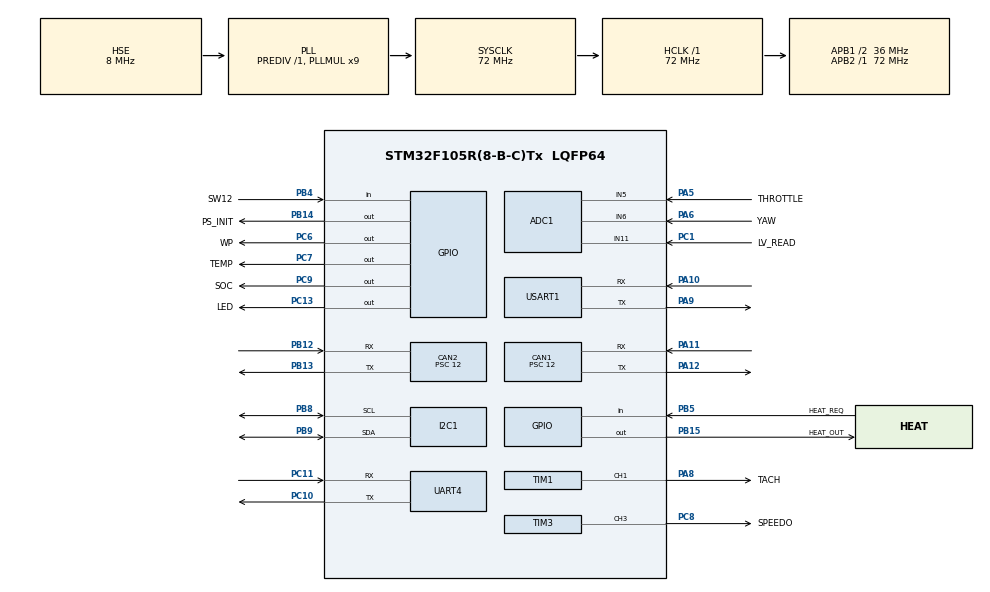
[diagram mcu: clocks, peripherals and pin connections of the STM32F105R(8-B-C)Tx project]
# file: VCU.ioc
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ADC1.Channel-0\#ChannelRegularConversion=ADC_CHANNEL_11
ADC1.Channel-1\#ChannelRegularConversion=ADC_CHANNEL_5
ADC1.Channel-2\#ChannelRegularConversion=ADC_CHANNEL_6
ADC1.ContinuousConvMode=ENABLE
ADC1.DataAlign=ADC_DATAALIGN_RIGHT
ADC1.NbrOfConversion=3
ADC1.NbrOfConversionFlag=1
ADC1.Rank-0\#ChannelRegularConversion=1
ADC1.Rank-1\#ChannelRegularConversion=2
ADC1.Rank-2\#ChannelRegularConversion=3
ADC1.SamplingTime-0\#ChannelRegularConversion=ADC_SAMPLETIME_239CYCLES_5
ADC1.SamplingTime-1\#ChannelRegularConversion=ADC_SAMPLETIME_41CYCLES_5
ADC1.SamplingTime-2\#ChannelRegularConversion=ADC_SAMPLETIME_41CYCLES_5
ADC1.master=1
CAN1.BS1=CAN_BS1_2TQ
CAN1.BS2=CAN_BS2_3TQ
CAN1.CalculateBaudRate=499999
CAN1.CalculateTimeBit=2000
CAN1.CalculateTimeQuantum=333.33333333333337
CAN1.Prescaler=12
CAN2.BS1=CAN_BS1_2TQ
CAN2.BS2=CAN_BS2_3TQ
CAN2.CalculateBaudRate=499999
CAN2.CalculateTimeBit=2000
CAN2.CalculateTimeQuantum=333.33333333333337
CAN2.Prescaler=12
Dma.ADC1.3.Direction=DMA_PERIPH_TO_MEMORY
Dma.ADC1.3.Instance=DMA1_Channel1
Dma.ADC1.3.MemDataAlignment=DMA_MDATAALIGN_WORD
Dma.ADC1.3.MemInc=DMA_MINC_ENABLE
Dma.ADC1.3.Mode=DMA_CIRCULAR
Dma.ADC1.3.PeriphDataAlignment=DMA_PDATAALIGN_WORD
Dma.ADC1.3.PeriphInc=DMA_PINC_DISABLE
Dma.ADC1.3.Priority=DMA_PRIORITY_LOW
Dma.Request0=TIM5_CH1
Dma.Request1=TIM5_CH2
Dma.Request2=TIM2_CH1
Dma.Request3=ADC1
Dma.TIM2_CH1.2.Direction=DMA_MEMORY_TO_PERIPH
Dma.TIM2_CH1.2.Instance=DMA1_Channel5
Dma.TIM2_CH1.2.MemDataAlignment=DMA_MDATAALIGN_WORD
Dma.TIM2_CH1.2.MemInc=DMA_MINC_ENABLE
Dma.TIM2_CH1.2.Mode=DMA_CIRCULAR
Dma.TIM2_CH1.2.PeriphDataAlignment=DMA_PDATAALIGN_WORD
Dma.TIM2_CH1.2.PeriphInc=DMA_PINC_DISABLE
Dma.TIM2_CH1.2.Priority=DMA_PRIORITY_LOW
Dma.TIM5_CH1.0.Direction=DMA_MEMORY_TO_PERIPH
Dma.TIM5_CH1.0.Instance=DMA2_Channel5
Dma.TIM5_CH1.0.MemDataAlignment=DMA_MDATAALIGN_WORD
Dma.TIM5_CH1.0.MemInc=DMA_MINC_ENABLE
Dma.TIM5_CH1.0.Mode=DMA_CIRCULAR
Dma.TIM5_CH1.0.PeriphDataAlignment=DMA_PDATAALIGN_WORD
Dma.TIM5_CH1.0.PeriphInc=DMA_PINC_DISABLE
Dma.TIM5_CH1.0.Priority=DMA_PRIORITY_VERY_HIGH
Dma.TIM5_CH2.1.Direction=DMA_MEMORY_TO_PERIPH
Dma.TIM5_CH2.1.Instance=DMA2_Channel4
Dma.TIM5_CH2.1.MemDataAlignment=DMA_MDATAALIGN_WORD
Dma.TIM5_CH2.1.MemInc=DMA_MINC_ENABLE
Dma.TIM5_CH2.1.Mode=DMA_CIRCULAR
Dma.TIM5_CH2.1.PeriphDataAlignment=DMA_PDATAALIGN_WORD
Dma.TIM5_CH2.1.PeriphInc=DMA_PINC_DISABLE
Dma.TIM5_CH2.1.Priority=DMA_PRIORITY_VERY_HIGH
IWDG.Prescaler=IWDG_PRESCALER_8
IWDG.Reload=439
Mcu.Family=STM32F1
Mcu.Name=STM32F105R(8-B-C)Tx
Mcu.Package=LQFP64
NVIC.CAN1_RX0_IRQn=true\:0\:0\:false\:false\:true\:true\:true
NVIC.CAN2_RX1_IRQn=true\:0\:0\:false\:false\:true\:true\:true
NVIC.DMA1_Channel1_IRQn=true\:0\:0\:false\:false\:true\:false\:true
NVIC.DMA1_Channel5_IRQn=true\:0\:0\:false\:false\:true\:false\:true
NVIC.DMA2_Channel4_IRQn=true\:0\:0\:false\:false\:true\:false\:true
NVIC.DMA2_Channel5_IRQn=true\:0\:0\:false\:false\:true\:false\:true
NVIC.PriorityGroup=NVIC_PRIORITYGROUP_4
NVIC.TIM6_IRQn=true\:0\:0\:false\:false\:true\:true\:true
PA10.Mode=Asynchronous
PA10.Signal=USART1_RX
PA11.Mode=CAN_Activate
PA11.Signal=CAN1_RX
PA12.Mode=CAN_Activate
PA12.Signal=CAN1_TX
PA13.Mode=Serial_Wire
PA13.Signal=SYS_JTMS-SWDIO
PA14.Mode=Serial_Wire
PA14.Signal=SYS_JTCK-SWCLK
PA5.GPIO_Label=THROTTLE
PA5.Signal=ADCx_IN5
PA6.GPIO_Label=YAW
PA6.Signal=ADCx_IN6
PA8.GPIO_Label=TACH
PA8.Signal=S_TIM1_CH1
PA9.Mode=Asynchronous
PA9.Signal=USART1_TX
PB12.Mode=CAN_Activate
PB12.Signal=CAN2_RX
PB13.Mode=CAN_Activate
PB13.Signal=CAN2_TX
PB14.GPIO_Label=PS_INIT
PB14.GPIO_PuPd=GPIO_NOPULL
PB14.Signal=GPIO_Output
PB15.GPIO_Label=HEAT_OUT
PB15.Signal=GPIO_Output
PB4.GPIO_Label=SW12
PB4.Signal=GPIO_Input
PB5.GPIO_Label=HEAT_REQ
PB5.Signal=GPIO_Input
PB8.Mode=SMBus-two-wire-Interface
PB8.Signal=I2C1_SCL
PB9.Mode=SMBus-two-wire-Interface
PB9.Signal=I2C1_SDA
PC1.GPIO_Label=LV_READ
PC1.Signal=ADCx_IN11
PC10.Mode=Asynchronous
PC10.Signal=UART4_TX
PC11.Mode=Asynchronous
PC11.Signal=UART4_RX
PC13-TAMPER-RTC.GPIO_Label=LED
PC13-TAMPER-RTC.Signal=GPIO_Output
PC14-OSC32_IN.Mode=LSE-External-Oscillator
PC14-OSC32_IN.Signal=RCC_OSC32_IN
PC15-OSC32_OUT.Mode=LSE-External-Oscillator
PC15-OSC32_OUT.Signal=RCC_OSC32_OUT
PC6.GPIO_Label=WP
PC6.Signal=GPIO_Output
PC7.GPIO_Label=TEMP
PC7.GPIO_Speed=GPIO_SPEED_FREQ_HIGH
PC7.Signal=GPIO_Output
PC8.GPIO_Label=SPEEDO
PC8.Signal=S_TIM3_CH3
PC9.GPIO_Label=SOC
PC9.GPIO_Speed=GPIO_SPEED_FREQ_HIGH
PC9.Signal=GPIO_Output
PD0-OSC_IN.Mode=HSE-External-Oscillator
PD0-OSC_IN.Signal=RCC_OSC_IN
PD1-OSC_OUT.Mode=HSE-External-Oscillator
PD1-OSC_OUT.Signal=RCC_OSC_OUT
ProjectManager.HeapSize=0x200
ProjectManager.StackSize=0x400
ProjectManager.TargetToolchain=Makefile
RCC.ADCPresc=RCC_ADCPCLK2_DIV6
RCC.AHBFreq_Value=72000000
RCC.APB1CLKDivider=RCC_HCLK_DIV2
RCC.APB1Freq_Value=36000000
RCC.APB1TimFreq_Value=72000000
RCC.APB2Freq_Value=72000000
RCC.APB2TimFreq_Value=72000000
RCC.HCLKFreq_Value=72000000
RCC.PLLMUL=RCC_PLL_MUL9
RCC.PLLSourceVirtual=RCC_PLLSOURCE_HSE
RCC.SYSCLKFreq_VALUE=72000000
RCC.SYSCLKSource=RCC_SYSCLKSOURCE_PLLCLK
RCC.USBFreq_Value=48000000
SH.ADCx_IN11.0=ADC1_IN11,IN11
SH.ADCx_IN5.0=ADC1_IN5,IN5
SH.ADCx_IN6.0=ADC1_IN6,IN6
SH.S_TIM1_CH1.0=TIM1_CH1,PWM Generation1 CH1
SH.S_TIM3_CH3.0=TIM3_CH3,PWM Generation3 CH3
TIM1.Channel-PWM\ Generation1\ CH1=TIM_CHANNEL_1
TIM1.OCPolarity_1=TIM_OCPOLARITY_HIGH
TIM1.Period=65535
TIM1.Prescaler=240
TIM2.Channel-Output\ Compare1\ No\ Output=TIM_CHANNEL_1
TIM2.Period=600
TIM2.Prescaler=10
TIM3.Channel-PWM\ Generation3\ CH3=TIM_CHANNEL_3
TIM3.Period=600
TIM3.Prescaler=120
TIM5.Channel-Output\ Compare1\ No\ Output=TIM_CHANNEL_1
TIM5.Channel-Output\ Compare2\ No\ Output=TIM_CHANNEL_2
TIM5.Period=10
TIM5.Prescaler=100
TIM6.Period=1000-1
TIM6.Prescaler=72-1
UART4.VirtualMode=Asynchronous
USART1.VirtualMode=VM_ASYNC
VP_IWDG_VS_IWDG.Mode=IWDG_Activate
VP_TIM2_VS_no_output1.Mode=Output Compare1 No Output
VP_TIM3_VS_ClockSourceINT.Mode=Internal
VP_TIM5_VS_no_output1.Mode=Output Compare1 No Output
VP_TIM5_VS_no_output2.Mode=Output Compare2 No Output
VP_TIM6_VS_ClockSourceINT.Mode=Enable_Timer
board=custom

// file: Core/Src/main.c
/* USER CODE BEGIN Header */
/**
 ******************************************************************************
 * @file           : main.c
 * @brief          : Main program body
 ******************************************************************************
 * @attention
 *
 * <h2><center>&copy; Copyright (c) 2021 STMicroelectronics.
 * All rights reserved.</center></h2>
 *
 * This software component is licensed by ST under Ultimate Liberty license
 * SLA0044, the "License"; You may not use this file except in compliance with
 * the License. You may obtain a copy of the License at:
 *                             www.st.com/SLA0044
 *
 ******************************************************************************
 */
/* USER CODE END Header */
#include "main.h"

/* USER CODE BEGIN Includes */

#include "print_uart.h"
#include "can_setup.h"
//#include "FreeRTOS.h"
//#include "task.h" //needed for delayuntil
#include "gauges.h"
#include "vcu.h"
#include "test.h"
#include "water_pump.h"
#include "dcdc.h"
#include "tasks.h"
__attribute__((__section__(".board_info"))) const unsigned char BOARD_NAME[10] = "VCU"; // BOARD_NAME must match build name in Makefile
/* USER CODE END Includes */

/* USER CODE BEGIN PTD */
uint32_t lastRun = 0;

/* USER CODE END PTD */

ADC_HandleTypeDef hadc1;
DMA_HandleTypeDef hdma_adc1;

CAN_HandleTypeDef hcan1;
CAN_HandleTypeDef hcan2;

IWDG_HandleTypeDef hiwdg;

TIM_HandleTypeDef htim1;
TIM_HandleTypeDef htim2;
TIM_HandleTypeDef htim3;
TIM_HandleTypeDef htim5;
TIM_HandleTypeDef htim6;
DMA_HandleTypeDef hdma_tim2_ch1;
DMA_HandleTypeDef hdma_tim5_ch1;
DMA_HandleTypeDef hdma_tim5_ch2;

UART_HandleTypeDef huart4;
UART_HandleTypeDef huart1;

void SystemClock_Config(void);
static void MX_GPIO_Init(void);
static void MX_DMA_Init(void);
static void MX_CAN2_Init(void);
static void MX_ADC1_Init(void);
static void MX_CAN1_Init(void);
static void MX_I2C1_SMBUS_Init(void);
static void MX_UART4_Init(void);
static void MX_USART1_UART_Init(void);
static void MX_TIM3_Init(void);
static void MX_TIM1_Init(void);
static void MX_TIM5_Init(void);
static void MX_TIM2_Init(void);
static void MX_IWDG_Init(void);
static void MX_TIM6_Init(void);

int main(void)
{

  /* MCU Configuration--------------------------------------------------------*/

  /* Reset of all peripherals, Initializes the Flash interface and the Systick. */
  HAL_Init();

  /* Configure the system clock */
  SystemClock_Config();

  /* Initialize all configured peripherals */
  MX_GPIO_Init();
  MX_DMA_Init();
  MX_CAN2_Init();
  MX_ADC1_Init();
  MX_CAN1_Init();
  MX_I2C1_SMBUS_Init();
  MX_UART4_Init();
  MX_USART1_UART_Init();
  MX_TIM3_Init();
  MX_TIM1_Init();
  MX_TIM5_Init();
  MX_TIM2_Init();
  //MX_IWDG_Init();
  MX_TIM6_Init();
  /* USER CODE BEGIN 2 */
  canSettings();
  gaugeInit();
  dcdcInit();
  vcuInit();
  wpInit();

  HAL_TIM_Base_Start_IT(&htim6);

  HAL_TIM_Base_Start(&htim2);
  HAL_DMA_Start(&hdma_tim2_ch1, (uint32_t) & (waterPWM[0]), GPIOC_BASE + 16, 100); // water pump pwm
  __HAL_TIM_ENABLE_DMA(&htim2, TIM_DMA_CC1);

  HAL_TIM_Base_Start(&htim5);
  HAL_DMA_Start(&hdma_tim5_ch1, (uint32_t) & (tempPWM[0]), GPIOC_BASE + 16, 100); // temp gauge PWM
  __HAL_TIM_ENABLE_DMA(&htim5, TIM_DMA_CC1);
  HAL_DMA_Start(&hdma_tim5_ch2, (uint32_t) & (socPWM[0]), GPIOC_BASE + 16, 1000); // SOC gauge PWM
  __HAL_TIM_ENABLE_DMA(&htim5, TIM_DMA_CC2);

  HAL_TIM_PWM_Start(&htim1, TIM_CHANNEL_1); // Tach pwm start
  HAL_TIM_PWM_Start(&htim3, TIM_CHANNEL_3); // Speedo pwm start

  HAL_ADC_Start_DMA(&hadc1, ADC_data, 3);
  lastRun = HAL_GetTick();

  /* USER CODE END 2 */

  /* Infinite loop */
  /* USER CODE BEGIN WHILE */
  while (1)
  {
    taskHandler();

    /* USER CODE END WHILE */

  }
}

void SystemClock_Config(void)
{
  RCC_OscInitTypeDef RCC_OscInitStruct = {0};
  RCC_ClkInitTypeDef RCC_ClkInitStruct = {0};
  RCC_PeriphCLKInitTypeDef PeriphClkInit = {0};

  /** Initializes the RCC Oscillators according to the specified parameters
   * in the RCC_OscInitTypeDef structure.
   */
  RCC_OscInitStruct.OscillatorType = RCC_OSCILLATORTYPE_LSI | RCC_OSCILLATORTYPE_HSE;
  RCC_OscInitStruct.HSEState = RCC_HSE_ON;
  RCC_OscInitStruct.HSEPredivValue = RCC_HSE_PREDIV_DIV1;
  RCC_OscInitStruct.HSIState = RCC_HSI_ON;
  RCC_OscInitStruct.LSIState = RCC_LSI_ON;
  RCC_OscInitStruct.Prediv1Source = RCC_PREDIV1_SOURCE_HSE;
  RCC_OscInitStruct.PLL.PLLState = RCC_PLL_ON;
  RCC_OscInitStruct.PLL.PLLSource = RCC_PLLSOURCE_HSE;
  RCC_OscInitStruct.PLL.PLLMUL = RCC_PLL_MUL9;
  RCC_OscInitStruct.PLL2.PLL2State = RCC_PLL_NONE;
  if (HAL_RCC_OscConfig(&RCC_OscInitStruct) != HAL_OK)
  {
    Error_Handler();
  }
  /** Initializes the CPU, AHB and APB buses clocks
   */
  RCC_ClkInitStruct.ClockType = RCC_CLOCKTYPE_HCLK | RCC_CLOCKTYPE_SYSCLK | RCC_CLOCKTYPE_PCLK1 | RCC_CLOCKTYPE_PCLK2;
  RCC_ClkInitStruct.SYSCLKSource = RCC_SYSCLKSOURCE_PLLCLK;
  RCC_ClkInitStruct.AHBCLKDivider = RCC_SYSCLK_DIV1;
  RCC_ClkInitStruct.APB1CLKDivider = RCC_HCLK_DIV2;
  RCC_ClkInitStruct.APB2CLKDivider = RCC_HCLK_DIV1;

  if (HAL_RCC_ClockConfig(&RCC_ClkInitStruct, FLASH_LATENCY_2) != HAL_OK)
  {
    Error_Handler();
  }
  PeriphClkInit.PeriphClockSelection = RCC_PERIPHCLK_ADC;
  PeriphClkInit.AdcClockSelection = RCC_ADCPCLK2_DIV6;
  if (HAL_RCCEx_PeriphCLKConfig(&PeriphClkInit) != HAL_OK)
  {
    Error_Handler();
  }
  /** Configure the Systick interrupt time
   */
  __HAL_RCC_PLLI2S_ENABLE();
}

static void MX_ADC1_Init(void)
{

  ADC_ChannelConfTypeDef sConfig = {0};

  /** Common config
   */
  hadc1.Instance = ADC1;
  hadc1.Init.ScanConvMode = ADC_SCAN_ENABLE;
  hadc1.Init.ContinuousConvMode = ENABLE;
  hadc1.Init.DiscontinuousConvMode = DISABLE;
  hadc1.Init.ExternalTrigConv = ADC_SOFTWARE_START;
  hadc1.Init.DataAlign = ADC_DATAALIGN_RIGHT;
  hadc1.Init.NbrOfConversion = 3;
  if (HAL_ADC_Init(&hadc1) != HAL_OK)
  {
    Error_Handler();
  }
  /** Configure Regular Channel
   */
  sConfig.Channel = ADC_CHANNEL_11;
  sConfig.Rank = ADC_REGULAR_RANK_1;
  sConfig.SamplingTime = ADC_SAMPLETIME_239CYCLES_5;
  if (HAL_ADC_ConfigChannel(&hadc1, &sConfig) != HAL_OK)
  {
    Error_Handler();
  }
  /** Configure Regular Channel
   */
  sConfig.Channel = ADC_CHANNEL_5;
  sConfig.Rank = ADC_REGULAR_RANK_2;
  sConfig.SamplingTime = ADC_SAMPLETIME_41CYCLES_5;
  if (HAL_ADC_ConfigChannel(&hadc1, &sConfig) != HAL_OK)
  {
    Error_Handler();
  }
  /** Configure Regular Channel
   */
  sConfig.Channel = ADC_CHANNEL_6;
  sConfig.Rank = ADC_REGULAR_RANK_3;
  if (HAL_ADC_ConfigChannel(&hadc1, &sConfig) != HAL_OK)
  {
    Error_Handler();
  }
}

static void MX_CAN1_Init(void)
{

  hcan1.Instance = CAN1;
  hcan1.Init.Prescaler = 12;
  hcan1.Init.Mode = CAN_MODE_NORMAL;
  hcan1.Init.SyncJumpWidth = CAN_SJW_1TQ;
  hcan1.Init.TimeSeg1 = CAN_BS1_2TQ;
  hcan1.Init.TimeSeg2 = CAN_BS2_3TQ;
  hcan1.Init.TimeTriggeredMode = DISABLE;
  hcan1.Init.AutoBusOff = DISABLE;
  hcan1.Init.AutoWakeUp = DISABLE;
  hcan1.Init.AutoRetransmission = DISABLE;
  hcan1.Init.ReceiveFifoLocked = DISABLE;
  hcan1.Init.TransmitFifoPriority = DISABLE;
  if (HAL_CAN_Init(&hcan1) != HAL_OK)
  {
    Error_Handler();
  }
}

static void MX_CAN2_Init(void)
{

  hcan2.Instance = CAN2;
  hcan2.Init.Prescaler = 12;
  hcan2.Init.Mode = CAN_MODE_NORMAL;
  hcan2.Init.SyncJumpWidth = CAN_SJW_1TQ;
  hcan2.Init.TimeSeg1 = CAN_BS1_2TQ;
  hcan2.Init.TimeSeg2 = CAN_BS2_3TQ;
  hcan2.Init.TimeTriggeredMode = DISABLE;
  hcan2.Init.AutoBusOff = DISABLE;
  hcan2.Init.AutoWakeUp = DISABLE;
  hcan2.Init.AutoRetransmission = DISABLE;
  hcan2.Init.ReceiveFifoLocked = DISABLE;
  hcan2.Init.TransmitFifoPriority = DISABLE;
  if (HAL_CAN_Init(&hcan2) != HAL_OK)
  {
    Error_Handler();
  }
}

static void MX_I2C1_SMBUS_Init(void)
{

}

static void MX_IWDG_Init(void)
{

  hiwdg.Instance = IWDG;
  hiwdg.Init.Prescaler = IWDG_PRESCALER_8;
  hiwdg.Init.Reload = 439;
  if (HAL_IWDG_Init(&hiwdg) != HAL_OK)
  {
    Error_Handler();
  }
}

static void MX_TIM1_Init(void)
{

  TIM_MasterConfigTypeDef sMasterConfig = {0};
  TIM_OC_InitTypeDef sConfigOC = {0};
  TIM_BreakDeadTimeConfigTypeDef sBreakDeadTimeConfig = {0};

  htim1.Instance = TIM1;
  htim1.Init.Prescaler = 240;
  htim1.Init.CounterMode = TIM_COUNTERMODE_UP;
  htim1.Init.Period = 65535;
  htim1.Init.ClockDivision = TIM_CLOCKDIVISION_DIV1;
  htim1.Init.RepetitionCounter = 0;
  htim1.Init.AutoReloadPreload = TIM_AUTORELOAD_PRELOAD_DISABLE;
  if (HAL_TIM_PWM_Init(&htim1) != HAL_OK)
  {
    Error_Handler();
  }
  sMasterConfig.MasterOutputTrigger = TIM_TRGO_RESET;
  sMasterConfig.MasterSlaveMode = TIM_MASTERSLAVEMODE_DISABLE;
  if (HAL_TIMEx_MasterConfigSynchronization(&htim1, &sMasterConfig) != HAL_OK)
  {
    Error_Handler();
  }
  sConfigOC.OCMode = TIM_OCMODE_PWM1;
  sConfigOC.Pulse = 0;
  sConfigOC.OCPolarity = TIM_OCPOLARITY_HIGH;
  sConfigOC.OCNPolarity = TIM_OCNPOLARITY_HIGH;
  sConfigOC.OCFastMode = TIM_OCFAST_DISABLE;
  sConfigOC.OCIdleState = TIM_OCIDLESTATE_RESET;
  sConfigOC.OCNIdleState = TIM_OCNIDLESTATE_RESET;
  if (HAL_TIM_PWM_ConfigChannel(&htim1, &sConfigOC, TIM_CHANNEL_1) != HAL_OK)
  {
    Error_Handler();
  }
  sBreakDeadTimeConfig.OffStateRunMode = TIM_OSSR_DISABLE;
  sBreakDeadTimeConfig.OffStateIDLEMode = TIM_OSSI_DISABLE;
  sBreakDeadTimeConfig.LockLevel = TIM_LOCKLEVEL_OFF;
  sBreakDeadTimeConfig.DeadTime = 0;
  sBreakDeadTimeConfig.BreakState = TIM_BREAK_DISABLE;
  sBreakDeadTimeConfig.BreakPolarity = TIM_BREAKPOLARITY_HIGH;
  sBreakDeadTimeConfig.AutomaticOutput = TIM_AUTOMATICOUTPUT_DISABLE;
  if (HAL_TIMEx_ConfigBreakDeadTime(&htim1, &sBreakDeadTimeConfig) != HAL_OK)
  {
    Error_Handler();
  }
  HAL_TIM_MspPostInit(&htim1);
}

static void MX_TIM2_Init(void)
{

  TIM_MasterConfigTypeDef sMasterConfig = {0};
  TIM_OC_InitTypeDef sConfigOC = {0};

  /* USER CODE BEGIN TIM2_Init 1 */
  // Water pump pwm emulation
  /* USER CODE END TIM2_Init 1 */
  htim2.Instance = TIM2;
  htim2.Init.Prescaler = 10;
  htim2.Init.CounterMode = TIM_COUNTERMODE_UP;
  htim2.Init.Period = 600;
  htim2.Init.ClockDivision = TIM_CLOCKDIVISION_DIV1;
  htim2.Init.AutoReloadPreload = TIM_AUTORELOAD_PRELOAD_DISABLE;
  if (HAL_TIM_OC_Init(&htim2) != HAL_OK)
  {
    Error_Handler();
  }
  sMasterConfig.MasterOutputTrigger = TIM_TRGO_RESET;
  sMasterConfig.MasterSlaveMode = TIM_MASTERSLAVEMODE_DISABLE;
  if (HAL_TIMEx_MasterConfigSynchronization(&htim2, &sMasterConfig) != HAL_OK)
  {
    Error_Handler();
  }
  sConfigOC.OCMode = TIM_OCMODE_TIMING;
  sConfigOC.Pulse = 0;
  sConfigOC.OCPolarity = TIM_OCPOLARITY_HIGH;
  sConfigOC.OCFastMode = TIM_OCFAST_DISABLE;
  if (HAL_TIM_OC_ConfigChannel(&htim2, &sConfigOC, TIM_CHANNEL_1) != HAL_OK)
  {
    Error_Handler();
  }
}

static void MX_TIM3_Init(void)
{

  TIM_ClockConfigTypeDef sClockSourceConfig = {0};
  TIM_MasterConfigTypeDef sMasterConfig = {0};
  TIM_OC_InitTypeDef sConfigOC = {0};

  htim3.Instance = TIM3;
  htim3.Init.Prescaler = 120;
  htim3.Init.CounterMode = TIM_COUNTERMODE_UP;
  htim3.Init.Period = 600;
  htim3.Init.ClockDivision = TIM_CLOCKDIVISION_DIV1;
  htim3.Init.AutoReloadPreload = TIM_AUTORELOAD_PRELOAD_DISABLE;
  if (HAL_TIM_Base_Init(&htim3) != HAL_OK)
  {
    Error_Handler();
  }
  sClockSourceConfig.ClockSource = TIM_CLOCKSOURCE_INTERNAL;
  if (HAL_TIM_ConfigClockSource(&htim3, &sClockSourceConfig) != HAL_OK)
  {
    Error_Handler();
  }
  if (HAL_TIM_PWM_Init(&htim3) != HAL_OK)
  {
    Error_Handler();
  }
  sMasterConfig.MasterOutputTrigger = TIM_TRGO_RESET;
  sMasterConfig.MasterSlaveMode = TIM_MASTERSLAVEMODE_DISABLE;
  if (HAL_TIMEx_MasterConfigSynchronization(&htim3, &sMasterConfig) != HAL_OK)
  {
    Error_Handler();
  }
  sConfigOC.OCMode = TIM_OCMODE_PWM1;
  sConfigOC.Pulse = 0;
  sConfigOC.OCPolarity = TIM_OCPOLARITY_HIGH;
  sConfigOC.OCFastMode = TIM_OCFAST_DISABLE;
  if (HAL_TIM_PWM_ConfigChannel(&htim3, &sConfigOC, TIM_CHANNEL_3) != HAL_OK)
  {
    Error_Handler();
  }
  HAL_TIM_MspPostInit(&htim3);
}

static void MX_TIM5_Init(void)
{

  TIM_MasterConfigTypeDef sMasterConfig = {0};
  TIM_OC_InitTypeDef sConfigOC = {0};

  htim5.Instance = TIM5;
  htim5.Init.Prescaler = 100;
  htim5.Init.CounterMode = TIM_COUNTERMODE_UP;
  htim5.Init.Period = 10;
  htim5.Init.ClockDivision = TIM_CLOCKDIVISION_DIV1;
  htim5.Init.AutoReloadPreload = TIM_AUTORELOAD_PRELOAD_DISABLE;
  if (HAL_TIM_OC_Init(&htim5) != HAL_OK)
  {
    Error_Handler();
  }
  sMasterConfig.MasterOutputTrigger = TIM_TRGO_RESET;
  sMasterConfig.MasterSlaveMode = TIM_MASTERSLAVEMODE_DISABLE;
  if (HAL_TIMEx_MasterConfigSynchronization(&htim5, &sMasterConfig) != HAL_OK)
  {
    Error_Handler();
  }
  sConfigOC.OCMode = TIM_OCMODE_TIMING;
  sConfigOC.Pulse = 0;
  sConfigOC.OCPolarity = TIM_OCPOLARITY_HIGH;
  sConfigOC.OCFastMode = TIM_OCFAST_DISABLE;
  if (HAL_TIM_OC_ConfigChannel(&htim5, &sConfigOC, TIM_CHANNEL_1) != HAL_OK)
  {
    Error_Handler();
  }
  if (HAL_TIM_OC_ConfigChannel(&htim5, &sConfigOC, TIM_CHANNEL_2) != HAL_OK)
  {
    Error_Handler();
  }
}

static void MX_TIM6_Init(void)
{

  TIM_MasterConfigTypeDef sMasterConfig = {0};

  htim6.Instance = TIM6;
  htim6.Init.Prescaler = 72 - 1;
  htim6.Init.CounterMode = TIM_COUNTERMODE_UP;
  htim6.Init.Period = 1000 - 1;
  htim6.Init.AutoReloadPreload = TIM_AUTORELOAD_PRELOAD_DISABLE;
  if (HAL_TIM_Base_Init(&htim6) != HAL_OK)
  {
    Error_Handler();
  }
  sMasterConfig.MasterOutputTrigger = TIM_TRGO_RESET;
  sMasterConfig.MasterSlaveMode = TIM_MASTERSLAVEMODE_DISABLE;
  if (HAL_TIMEx_MasterConfigSynchronization(&htim6, &sMasterConfig) != HAL_OK)
  {
    Error_Handler();
  }
}

static void MX_UART4_Init(void)
{

  huart4.Instance = UART4;
  huart4.Init.BaudRate = 115200;
  huart4.Init.WordLength = UART_WORDLENGTH_8B;
  huart4.Init.StopBits = UART_STOPBITS_1;
  huart4.Init.Parity = UART_PARITY_NONE;
  huart4.Init.Mode = UART_MODE_TX_RX;
  huart4.Init.HwFlowCtl = UART_HWCONTROL_NONE;
  huart4.Init.OverSampling = UART_OVERSAMPLING_16;
  if (HAL_UART_Init(&huart4) != HAL_OK)
  {
    Error_Handler();
  }
}

static void MX_USART1_UART_Init(void)
{

  huart1.Instance = USART1;
  huart1.Init.BaudRate = 115200;
  huart1.Init.WordLength = UART_WORDLENGTH_8B;
  huart1.Init.StopBits = UART_STOPBITS_1;
  huart1.Init.Parity = UART_PARITY_NONE;
  huart1.Init.Mode = UART_MODE_TX_RX;
  huart1.Init.HwFlowCtl = UART_HWCONTROL_NONE;
  huart1.Init.OverSampling = UART_OVERSAMPLING_16;
  if (HAL_UART_Init(&huart1) != HAL_OK)
  {
    Error_Handler();
  }
}

static void MX_DMA_Init(void)
{

  /* DMA controller clock enable */
  __HAL_RCC_DMA2_CLK_ENABLE();
  __HAL_RCC_DMA1_CLK_ENABLE();

  /* DMA interrupt init */
  /* DMA1_Channel1_IRQn interrupt configuration */
  HAL_NVIC_SetPriority(DMA1_Channel1_IRQn, 0, 0);
  HAL_NVIC_EnableIRQ(DMA1_Channel1_IRQn);
  /* DMA1_Channel5_IRQn interrupt configuration */
  HAL_NVIC_SetPriority(DMA1_Channel5_IRQn, 0, 0);
  HAL_NVIC_EnableIRQ(DMA1_Channel5_IRQn);
  /* DMA2_Channel4_IRQn interrupt configuration */
  HAL_NVIC_SetPriority(DMA2_Channel4_IRQn, 0, 0);
  HAL_NVIC_EnableIRQ(DMA2_Channel4_IRQn);
  /* DMA2_Channel5_IRQn interrupt configuration */
  HAL_NVIC_SetPriority(DMA2_Channel5_IRQn, 0, 0);
  HAL_NVIC_EnableIRQ(DMA2_Channel5_IRQn);
}

static void MX_GPIO_Init(void)
{
  GPIO_InitTypeDef GPIO_InitStruct = {0};

  /* GPIO Ports Clock Enable */
  __HAL_RCC_GPIOC_CLK_ENABLE();
  __HAL_RCC_GPIOD_CLK_ENABLE();
  __HAL_RCC_GPIOA_CLK_ENABLE();
  __HAL_RCC_GPIOB_CLK_ENABLE();

  /*Configure GPIO pin Output Level */
  HAL_GPIO_WritePin(GPIOC, LED_Pin | WP_Pin | TEMP_Pin | SOC_Pin, GPIO_PIN_RESET);

  /*Configure GPIO pin Output Level */
  HAL_GPIO_WritePin(GPIOB, PS_INIT_Pin | HEAT_OUT_Pin, GPIO_PIN_RESET);

  /*Configure GPIO pins : LED_Pin WP_Pin */
  GPIO_InitStruct.Pin = LED_Pin | WP_Pin;
  GPIO_InitStruct.Mode = GPIO_MODE_OUTPUT_PP;
  GPIO_InitStruct.Pull = GPIO_NOPULL;
  GPIO_InitStruct.Speed = GPIO_SPEED_FREQ_LOW;
  HAL_GPIO_Init(GPIOC, &GPIO_InitStruct);

  /*Configure GPIO pins : PS_INIT_Pin HEAT_OUT_Pin */
  GPIO_InitStruct.Pin = PS_INIT_Pin | HEAT_OUT_Pin;
  GPIO_InitStruct.Mode = GPIO_MODE_OUTPUT_PP;
  GPIO_InitStruct.Pull = GPIO_NOPULL;
  GPIO_InitStruct.Speed = GPIO_SPEED_FREQ_LOW;
  HAL_GPIO_Init(GPIOB, &GPIO_InitStruct);

  /*Configure GPIO pins : TEMP_Pin SOC_Pin */
  GPIO_InitStruct.Pin = TEMP_Pin | SOC_Pin;
  GPIO_InitStruct.Mode = GPIO_MODE_OUTPUT_PP;
  GPIO_InitStruct.Pull = GPIO_NOPULL;
  GPIO_InitStruct.Speed = GPIO_SPEED_FREQ_HIGH;
  HAL_GPIO_Init(GPIOC, &GPIO_InitStruct);

  /*Configure GPIO pins : SW12_Pin HEAT_REQ_Pin */
  GPIO_InitStruct.Pin = SW12_Pin | HEAT_REQ_Pin;
  GPIO_InitStruct.Mode = GPIO_MODE_INPUT;
  GPIO_InitStruct.Pull = GPIO_NOPULL;
  HAL_GPIO_Init(GPIOB, &GPIO_InitStruct);
}

/* USER CODE BEGIN 4 */
// Callback: timer has rolled over

/* USER CODE END 4 */

void Error_Handler(void)
{
  __disable_irq();
  while (1)
  {
  }
}

/************************ (C) COPYRIGHT STMicroelectronics *****END OF FILE****/
